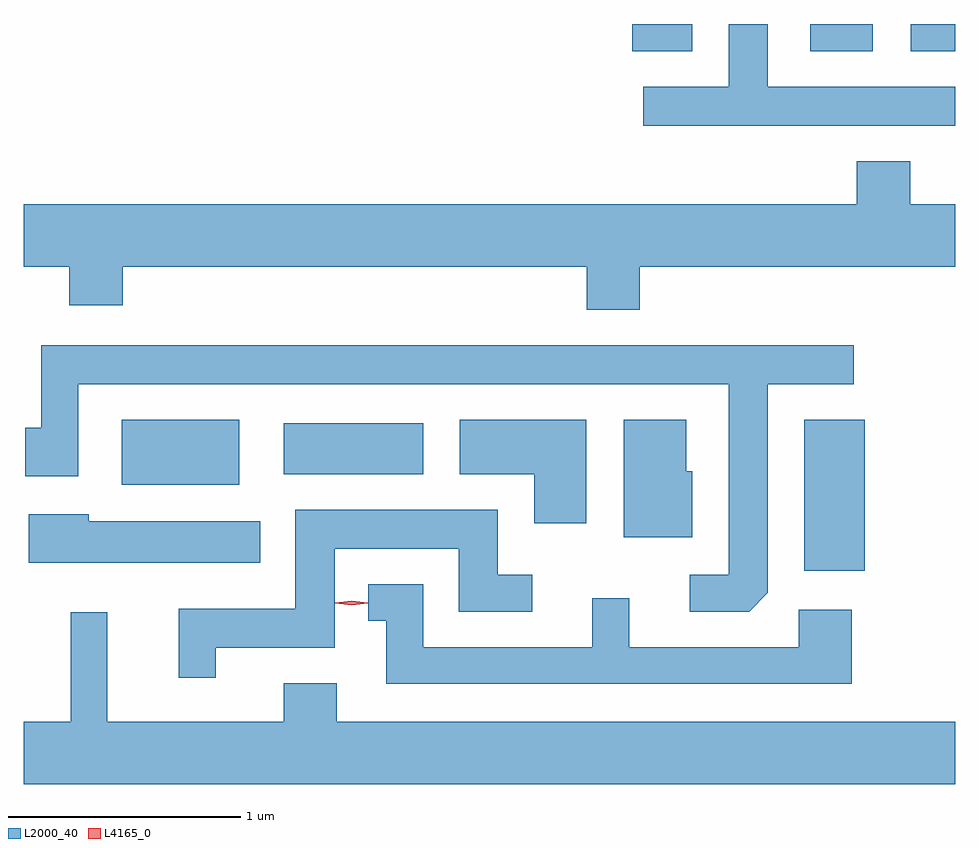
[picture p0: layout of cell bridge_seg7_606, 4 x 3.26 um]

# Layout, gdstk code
import gdstk
lib = gdstk.Library(unit=1e-6, precision=1e-09)
def R(c, l, rs):  # rectangles x0, y0, x1, y1
    for r in rs: c.add(gdstk.rectangle(r[:2], r[2:], *l))
def P(c, l, *ps):  # polygons
    for p in ps: c.add(gdstk.Polygon(p, *l))
L2000_40 = (2000, 40)
L4165_0 = (4165, 0)

bridge_seg7_606 = lib.new_cell('bridge_seg7_606')
R(bridge_seg7_606, L2000_40, [(800.976,1715.231,801.234,1715.879), (798.046,1715.601,798.549,1715.879), (798.741,1715.646,799.339,1715.864), (800.236,1717.461,800.494,1717.578), (801.001,1717.461,801.269,1717.578), (801.431,1717.461,801.624,1717.578)])
P(bridge_seg7_606, L2000_40, [(801.624,1717.309),(800.819,1717.309),(800.819,1717.578),(800.651,1717.578),(800.651,1717.309),(800.283,1717.309),(800.283,1717.141),(801.624,1717.141)],
  [(800.269,1716.536),(801.624,1716.536),(801.624,1716.804),(801.429,1716.804),(801.429,1716.989),(801.201,1716.989),(801.201,1716.804),(797.624,1716.804),(797.624,1716.536),(797.821,1716.536),(797.821,1716.371),(798.049,1716.371),(798.049,1716.536),(800.041,1716.536),(800.041,1716.351),(800.269,1716.351)],
  [(800.819,1715.137),(800.819,1716.031),(801.188,1716.031),(801.188,1716.199),(797.701,1716.199),(797.701,1715.844),(797.631,1715.844),(797.631,1715.636),(797.859,1715.636),(797.859,1716.031),(800.651,1716.031),(800.651,1715.214),(800.483,1715.214),(800.483,1715.056),(800.739,1715.056)],
  [(800.039,1715.879),(799.496,1715.879),(799.496,1715.646),(799.816,1715.646),(799.816,1715.436),(800.039,1715.436)],
  [(800.494,1715.659),(800.469,1715.659),(800.469,1715.879),(800.201,1715.879),(800.201,1715.376),(800.494,1715.376)],
  [(798.449,1714.901),(798.959,1714.901),(798.959,1715.326),(799.491,1715.326),(799.491,1715.056),(799.808,1715.056),(799.808,1715.214),(799.659,1715.214),(799.659,1715.494),(798.791,1715.494),(798.791,1715.069),(798.291,1715.069),(798.291,1714.773),(798.449,1714.773)],
  [(798.639,1715.444),(797.904,1715.444),(797.904,1715.474),(797.646,1715.474),(797.646,1715.266),(798.639,1715.266)],
  [(801.179,1715.064),(800.951,1715.064),(800.951,1714.904),(800.224,1714.904),(800.224,1715.113),(800.066,1715.113),(800.066,1714.904),(799.339,1714.904),(799.339,1715.174),(799.103,1715.174),(799.103,1715.016),(799.181,1715.016),(799.181,1714.746),(801.179,1714.746)],
  [(801.624,1714.584),(798.969,1714.584),(798.969,1714.749),(798.741,1714.749),(798.741,1714.584),(797.984,1714.584),(797.984,1715.053),(797.826,1715.053),(797.826,1714.584),(797.624,1714.584),(797.624,1714.316),(801.624,1714.316)])
P(bridge_seg7_606, L4165_0, [(799.032,1715.083),(798.962,1715.092),(798.962,1715.093),(798.962,1715.093),(799.032,1715.103),(799.101,1715.093),(799.101,1715.093),(799.101,1715.092)])

lib.write_gds('bridge_seg7_606.gds')
